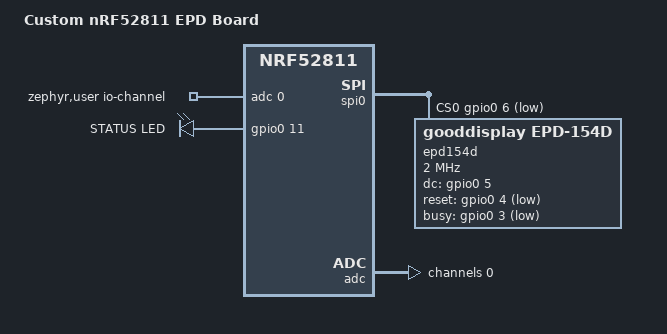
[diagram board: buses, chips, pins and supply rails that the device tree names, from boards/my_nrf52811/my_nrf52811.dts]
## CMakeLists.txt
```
# SPDX-License-Identifier: Apache-2.0

cmake_minimum_required(VERSION 3.20.0)
find_package(Zephyr REQUIRED HINTS $ENV{ZEPHYR_BASE})
project(nrf52811_epd)

target_sources(app PRIVATE
    src/main.c
    src/battery/app_battery.c
    src/battery/battery_state.c
    src/ble/app_ble_epd.c
    src/epd/epd_154d.c
    src/epd/epd_154d_core.c
    src/led/app_led.c
    src/led/led_policy.c
    src/power/app_power.c
    src/power/power_policy.c
    src/protocol/epd_protocol.c
)

target_include_directories(app PRIVATE
    src
)
```

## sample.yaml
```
sample:
  name: nRF52811 E-Paper BLE Peripheral
tests:
  sample.bluetooth.nrf52811_epd:
    harness: bluetooth
    platform_allow:
      - my_nrf52811
    tags: bluetooth
    integration_platforms:
      - my_nrf52811
```

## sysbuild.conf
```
# Disable deprecated partition manager, use DTS-based partitioning instead
SB_CONFIG_PARTITION_MANAGER=n
```

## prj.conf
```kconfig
CONFIG_GPIO=y
CONFIG_SPI=y
CONFIG_ADC=y
CONFIG_BT=y
CONFIG_BT_PERIPHERAL=y
CONFIG_BT_MAX_CONN=1
CONFIG_BT_SMP=n
# GATT device name；实际广播/扫描应答名运行时按 MAC 动态生成为 NRF_EDP_XXXX
CONFIG_BT_DEVICE_NAME="NRF_EDP"
CONFIG_BT_L2CAP_TX_MTU=247
CONFIG_BT_BUF_ACL_RX_SIZE=251
CONFIG_BT_BUF_ACL_TX_SIZE=251
CONFIG_BT_BUF_ACL_RX_COUNT_EXTRA=1
CONFIG_BT_BUF_ACL_TX_COUNT=3
CONFIG_BT_BUF_EVT_RX_COUNT=4
CONFIG_BT_BUF_EVT_DISCARDABLE_COUNT=1
CONFIG_BT_CTLR_DATA_LENGTH_MAX=27
CONFIG_BT_ATT_PREPARE_COUNT=0
# Always-resident: System OFF disabled (this PCB revision has no wake button)
CONFIG_SERIAL=n
CONFIG_UART_CONSOLE=n
CONFIG_I2C=n
CONFIG_SENSOR=n
CONFIG_FLASH=n
CONFIG_NVS=n
CONFIG_FPU=n
CONFIG_CONSOLE=y
CONFIG_USE_SEGGER_RTT=y
CONFIG_RTT_CONSOLE=y
CONFIG_SEGGER_RTT_BUFFER_SIZE_UP=256
# RTT 日志后端使用 DROP 模式：缓冲满时丢弃新日志而非阻塞调用者，
# 避免日志输出阻塞 BLE 回调线程导致 GATT 应答超时、链路被断开
CONFIG_LOG_BACKEND_RTT_MODE_DROP=y
CONFIG_LOG=y
CONFIG_LOG_MODE_IMMEDIATE=y
CONFIG_LOG_DEFAULT_LEVEL=3
CONFIG_CLOCK_CONTROL_NRF_K32SRC_RC=y
CONFIG_CLOCK_CONTROL_NRF_K32SRC_250PPM=y
# nRF52811 has only 24 KiB SRAM. Keep runtime headroom for BLE host state
# and ATT buffers; these values are sufficient for the application threads.
# main 线程仅常驻 idle，让出 256B 给 BT RX 线程：BT RX 承载全部 BLE
# 回调（connected/MTU/params/GATT 服务发现/RX 写/CCC），默认 1024B 栈在
# IMMEDIATE 日志格式化下偏小，栈溢出在无 MPU 时是静默内存破坏。
CONFIG_MAIN_STACK_SIZE=1280
CONFIG_BT_RX_STACK_SIZE=1536
CONFIG_SYSTEM_WORKQUEUE_STACK_SIZE=1536
CONFIG_CRC=y
```

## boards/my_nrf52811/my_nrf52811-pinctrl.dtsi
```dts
/*
 * nRF52811 pinctrl configuration.
 * EPD SPI0: SCK=P0.07, MOSI=P0.08, MISO unused.
 */

&pinctrl {
	spi0_default: spi0_default {
		group1 {
			psels = <NRF_PSEL(SPIM_SCK, 0, 7)>,
				<NRF_PSEL(SPIM_MOSI, 0, 8)>;
		};
	};

	spi0_sleep: spi0_sleep {
		group1 {
			psels = <NRF_PSEL(SPIM_SCK, 0, 7)>,
				<NRF_PSEL(SPIM_MOSI, 0, 8)>;
			low-power-enable;
		};
	};
};
```

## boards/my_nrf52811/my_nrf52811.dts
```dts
/*
 * Custom nRF52811 board with GDEM0154F51H 1.54-inch 4-color EPD.
 *
 * EPD:
 *   BAT ADC: P0.02
 *   MOSI:    P0.08
 *   CLK:     P0.07
 *   CS:      P0.06
 *   DC:      P0.05
 *   RST:     P0.04
 *   BUSY:    P0.03
 * Status LED:
 *   LED:     P0.11, active high（高电平点亮）
 */

/dts-v1/;
#include <nordic/nrf52811_qfaa.dtsi>
#include <zephyr/dt-bindings/adc/adc.h>
#include <zephyr/dt-bindings/adc/nrf-saadc.h>
#include <zephyr/dt-bindings/gpio/gpio.h>
#include <zephyr/dt-bindings/spi/spi.h>
#include "my_nrf52811-pinctrl.dtsi"

/ {
	model = "Custom nRF52811 EPD Board";
	compatible = "custom,my-nrf52811";

	chosen {
		zephyr,sram = &sram0;
		zephyr,flash = &flash0;
	};

	zephyr,user {
		io-channels = <&adc 0>;
	};

	aliases {
		led0 = &sysled;
		epd0 = &epd154d;
		bat-adc = &bat_adc;
	};

	leds {
		compatible = "gpio-leds";

		sysled: sys-led {
			/* 板上 LED 为高电平点亮（GPIO 推高 -> 导通）。
			 * 代码统一使用 gpio_pin_set_dt() 的逻辑电平，
			 * 因此这里必须声明 ACTIVE_HIGH：逻辑 1 => 物理高 => LED 亮。
			 * 若误写成 ACTIVE_LOW，Zephyr 会把电平取反，
			 * 表现为"连接时常亮的位置是灭的、断开反而亮"。 */
			gpios = <&gpio0 11 GPIO_ACTIVE_HIGH>;
			label = "STATUS LED";
		};
	};
};

&reg {
	regulator-initial-mode = <NRF5X_REG_MODE_DCDC>;
};

&gpiote {
	status = "okay";
};

&gpio0 {
	status = "okay";
};

&spi0 {
	compatible = "nordic,nrf-spim";
	status = "okay";
	cs-gpios = <&gpio0 6 GPIO_ACTIVE_LOW>;
	pinctrl-0 = <&spi0_default>;
	pinctrl-1 = <&spi0_sleep>;
	pinctrl-names = "default", "sleep";

	epd154d: epd@0 {
		compatible = "gooddisplay,epd-154d";
		reg = <0>;
		spi-max-frequency = <2000000>;
		dc-gpios = <&gpio0 5 GPIO_ACTIVE_HIGH>;
		/* GDEM0154F51H RST is active-low (low = reset, high = run).
		 * Kept in sync with the pre-regression driver which asserted
		 * reset by driving the pin low and released it by driving high.
		 */
		reset-gpios = <&gpio0 4 GPIO_ACTIVE_LOW>;
		busy-gpios = <&gpio0 3 GPIO_ACTIVE_LOW>;
		status = "okay";
	};
};

&uart0 {
	status = "disabled";
};

&adc {
	status = "okay";
	#address-cells = <1>;
	#size-cells = <0>;

	bat_adc: channel@0 {
		reg = <0>;
		zephyr,gain = "ADC_GAIN_1_6";
		zephyr,reference = "ADC_REF_INTERNAL";
		zephyr,acquisition-time = <ADC_ACQ_TIME_DEFAULT>;
		zephyr,input-positive = <NRF_SAADC_AIN0>;
		zephyr,resolution = <10>;
	};
};

&flash0 {
	partitions {
		compatible = "fixed-partitions";
		#address-cells = <1>;
		#size-cells = <1>;

		image_partition: partition@0 {
			label = "image-0";
			reg = <0x00000000 0x00030000>;
		};
	};
};
```

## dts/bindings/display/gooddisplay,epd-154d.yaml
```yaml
description: GDEM0154F51H 1.54-inch 200x200 four-color e-paper display

compatible: "gooddisplay,epd-154d"

include: spi-device.yaml

properties:
  dc-gpios:
    type: phandle-array
    required: true
    description: Data/command select GPIO.

  reset-gpios:
    type: phandle-array
    required: true
    description: Active-high display reset GPIO.

  busy-gpios:
    type: phandle-array
    required: true
    description: Active-low busy GPIO.
```

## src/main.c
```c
/* SPDX-License-Identifier: Apache-2.0 */

#include <zephyr/kernel.h>
#include <zephyr/logging/log.h>
#include <hal/nrf_power.h>

#include "battery/app_battery.h"
#include "ble/app_ble_epd.h"
#include "epd/epd_154d.h"
#include "led/app_led.h"
#include "power/app_power.h"

LOG_MODULE_REGISTER(main, CONFIG_LOG_DEFAULT_LEVEL);

int main(void)
{
	int err;
	uint32_t resetreas = NRF_POWER->RESETREAS;

	/* 记录本次启动原因（POWER/RESET 等位），用于区分异常复位重启
	 * 与日志阻塞/卡死：若 RTT 再次出现 boot 输出则说明设备复位过。
	 */
	NRF_POWER->RESETREAS = resetreas; /* 写 1 清除 */
	LOG_INF("RESETREAS=0x%08x", resetreas);

	err = app_led_init();
	if (err != 0) {
		LOG_ERR("LED init failed: %d", err);
		return err;
	}

	err = app_battery_init();
	if (err != 0) {
		LOG_ERR("Battery init failed: %d", err);
		return err;
	}

	/* 蓝牙上电即启动：不等屏幕自检刷新完成，设备一上电就能被发现/连接 */
	err = app_ble_epd_init();
	if (err != 0) {
		LOG_ERR("BLE init failed: %d", err);
		return err;
	}

	err = epd_154d_init();
	if (err != 0) {
		LOG_ERR("EPD init failed: %d", err);
		return err;
	}

	/* 上电自检图案：也是一次屏幕刷新，完成后 LED 快闪 3 下再熄灭 */
	err = epd_154d_show_test_pattern();
	if (err != 0) {
		LOG_ERR("EPD test pattern failed: %d", err);
		return err;
	}
	app_led_refresh_flash();

	err = app_power_init();
	if (err != 0) {
		LOG_ERR("Power init failed: %d", err);
		return err;
	}

	/* Stay resident: this PCB revision has no wake button, never enter
	 * System OFF. Idle in the kernel tickless sleep while advertising.
	 */
	while (true) {
		k_sleep(K_FOREVER);
	}
	return 0;
}
```

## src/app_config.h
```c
/* SPDX-License-Identifier: Apache-2.0 */

#ifndef APP_CONFIG_H_
#define APP_CONFIG_H_

/* Always-resident power: this PCB revision has no wake button, so
 * System OFF is intentionally not used and the device keeps running.
 */
#define POWER_MODE_SLOW_ADVERTISING 0

#ifndef APP_POWER_MODE
#define APP_POWER_MODE POWER_MODE_SLOW_ADVERTISING
#endif

#ifndef APP_BLE_DEVICE_NAME
#define APP_BLE_DEVICE_NAME "NRF52811-EPD"
#endif

#ifndef BLE_SLOW_ADV_INTERVAL_MS
#define BLE_SLOW_ADV_INTERVAL_MS 2000
#endif

#ifndef BLE_ACTIVE_ADV_INTERVAL_MS
#define BLE_ACTIVE_ADV_INTERVAL_MS 500
#endif

#ifndef BLE_IDLE_DISCONNECT_MS
#define BLE_IDLE_DISCONNECT_MS 30000
#endif

#ifndef BATTERY_LOW_THRESHOLD_MV
#define BATTERY_LOW_THRESHOLD_MV 2600
#endif

#ifndef BATTERY_LOW_HYSTERESIS_MV
#define BATTERY_LOW_HYSTERESIS_MV 100
#endif

#ifndef BATTERY_SAMPLE_INTERVAL_MS
#define BATTERY_SAMPLE_INTERVAL_MS 60000
#endif

#ifndef BATTERY_LOW_ALERT_INTERVAL_MS
#define BATTERY_LOW_ALERT_INTERVAL_MS 60000
#endif

/* Slow blink while BLE data is being received (non-blocking work item).
 * 500 ms 翻转 = 约 1 Hz，视觉上为"慢闪"（与刷新完成的 120 ms 快闪区分）。
 */
#ifndef LED_RX_BLINK_INTERVAL_MS
#define LED_RX_BLINK_INTERVAL_MS 500
#endif

/* Power-on LED: on once for 1 s then off. */
#ifndef LED_BOOT_ONCE_ON_MS
#define LED_BOOT_ONCE_ON_MS 1000
#endif

/* Fast-blink pattern timing (refresh done: 3 blinks then off). */
#ifndef LED_FLASH_ON_MS
#define LED_FLASH_ON_MS 120
#endif

#ifndef LED_FLASH_OFF_MS
#define LED_FLASH_OFF_MS 120
#endif

#ifndef LED_FLASH_COUNT         
#define LED_FLASH_COUNT 3
#endif

#ifndef LED_LOW_SHORT_ON_MS       
#define LED_LOW_SHORT_ON_MS 100
#endif

#ifndef LED_LOW_SHORT_OFF_MS
#define LED_LOW_SHORT_OFF_MS 100
#endif

#ifndef LED_LOW_LONG_ON_MS
#define LED_LOW_LONG_ON_MS 500
#endif

#ifndef EPD_BUSY_TIMEOUT_MS
#define EPD_BUSY_TIMEOUT_MS 30000
#endif

#endif /* APP_CONFIG_H_ */
```

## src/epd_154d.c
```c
#include "epd_154d.h"

#include <errno.h>

#include <zephyr/devicetree.h>
#include <zephyr/drivers/gpio.h>
#include <zephyr/drivers/spi.h>
#include <zephyr/kernel.h>
#include <zephyr/logging/log.h>
#include <zephyr/sys/util.h>

LOG_MODULE_REGISTER(epd_154d, CONFIG_LOG_DEFAULT_LEVEL);

#define EPD_NODE DT_ALIAS(epd0)

#if !DT_NODE_HAS_STATUS(EPD_NODE, okay)
#error "epd0 alias is missing or disabled"
#endif

static const struct spi_dt_spec epd_spi = SPI_DT_SPEC_GET(
	EPD_NODE, SPI_WORD_SET(8) | SPI_TRANSFER_MSB);
static const struct gpio_dt_spec epd_dc = GPIO_DT_SPEC_GET(EPD_NODE, dc_gpios);
static const struct gpio_dt_spec epd_reset_gpio = GPIO_DT_SPEC_GET(EPD_NODE, reset_gpios);
static const struct gpio_dt_spec epd_busy = GPIO_DT_SPEC_GET(EPD_NODE, busy_gpios);

static uint8_t test_frame[EPD_154D_FRAME_BYTES];

static int epd_write_bytes(const uint8_t *data, size_t length)
{
	while (length > 0) {
		size_t chunk = MIN(length, 256U);
		struct spi_buf buf = {
			.buf = (void *)data,
			.len = chunk,
		};
		struct spi_buf_set set = {
			.buffers = &buf,
			.count = 1,
		};
		int ret = spi_write_dt(&epd_spi, &set);
		if (ret < 0) {
			return ret;
		}

		data += chunk;
		length -= chunk;
	}

	return 0;
}

static int epd_write_command(uint8_t cmd)
{
	int ret = gpio_pin_set_dt(&epd_dc, 0);
	if (ret < 0) {
		return ret;
	}

	return epd_write_bytes(&cmd, 1);
}

static int epd_write_data(const uint8_t *data, size_t length)
{
	int ret = gpio_pin_set_dt(&epd_dc, 1);
	if (ret < 0) {
		return ret;
	}

	return epd_write_bytes(data, length);
}

static int epd_wait_idle(uint32_t timeout_ms)
{
	int64_t deadline = k_uptime_get() + timeout_ms;

	while (gpio_pin_get_raw(epd_busy.port, epd_busy.pin) == 0) {
		if (k_uptime_get() >= deadline) {
			return -ETIMEDOUT;
		}
		k_msleep(20);
	}

	return 0;
}

static int epd_hw_reset(void)
{
	int ret = gpio_pin_set_dt(&epd_reset_gpio, 0);
	if (ret < 0) {
		return ret;
	}

	k_msleep(10);

	ret = gpio_pin_set_dt(&epd_reset_gpio, 1);
	if (ret < 0) {
		return ret;
	}

	k_msleep(10);
	return 0;
}

static int epd_refresh(void)
{
	int ret = epd_write_command(0x12);
	if (ret < 0) {
		return ret;
	}

	static const uint8_t refresh_param = 0x00;
	ret = epd_write_data(&refresh_param, 1);
	if (ret < 0) {
		return ret;
	}

	return epd_wait_idle(5000);
}

static int epd_write_frame(const uint8_t *frame, size_t length)
{
	int ret = epd_write_command(0x10);
	if (ret < 0) {
		return ret;
	}

	ret = epd_write_data(frame, length);
	if (ret < 0) {
		return ret;
	}

	return epd_refresh();
}

int epd_154d_init(void)
{
	int ret;

	if (!device_is_ready(epd_spi.bus)) {
		return -ENODEV;
	}

	if (!gpio_is_ready_dt(&epd_dc) || !gpio_is_ready_dt(&epd_reset_gpio) ||
	    !gpio_is_ready_dt(&epd_busy)) {
		return -ENODEV;
	}

	ret = gpio_pin_configure_dt(&epd_dc, GPIO_OUTPUT_INACTIVE);
	if (ret < 0) {
		return ret;
	}

	ret = gpio_pin_configure_dt(&epd_reset_gpio, GPIO_OUTPUT_ACTIVE);
	if (ret < 0) {
		return ret;
	}

	ret = gpio_pin_configure_dt(&epd_busy, GPIO_INPUT);
	if (ret < 0) {
		return ret;
	}

	ret = epd_hw_reset();
	if (ret < 0) {
		return ret;
	}

	ret = epd_wait_idle(2000);
	if (ret < 0) {
		return ret;
	}

	static const uint8_t init_4d[] = { 0x78 };
	static const uint8_t init_psr[] = { 0x0F, 0x29 };
	static const uint8_t init_btst[] = { 0x0D, 0x12, 0x30, 0x20, 0x19, 0x2A, 0x22 };
	static const uint8_t init_cdi[] = { 0x37 };
	static const uint8_t init_tres[] = { 0x00, 0xC8, 0x00, 0xC8 };
	static const uint8_t init_e9[] = { 0x01 };
	static const uint8_t init_30[] = { 0x08 };

	ret = epd_write_command(0x4D);
	if (ret < 0) {
		return ret;
	}
	ret = epd_write_data(init_4d, sizeof(init_4d));
	if (ret < 0) {
		return ret;
	}

	ret = epd_write_command(0x00);
	if (ret < 0) {
		return ret;
	}
	ret = epd_write_data(init_psr, sizeof(init_psr));
	if (ret < 0) {
		return ret;
	}

	ret = epd_write_command(0x06);
	if (ret < 0) {
		return ret;
	}
	ret = epd_write_data(init_btst, sizeof(init_btst));
	if (ret < 0) {
		return ret;
	}

	ret = epd_write_command(0x50);
	if (ret < 0) {
		return ret;
	}
	ret = epd_write_data(init_cdi, sizeof(init_cdi));
	if (ret < 0) {
		return ret;
	}

	ret = epd_write_command(0x61);
	if (ret < 0) {
		return ret;
	}
	ret = epd_write_data(init_tres, sizeof(init_tres));
	if (ret < 0) {
		return ret;
	}

	ret = epd_write_command(0xE9);
	if (ret < 0) {
		return ret;
	}
	ret = epd_write_data(init_e9, sizeof(init_e9));
	if (ret < 0) {
		return ret;
	}

	ret = epd_write_command(0x30);
	if (ret < 0) {
		return ret;
	}
	ret = epd_write_data(init_30, sizeof(init_30));
	if (ret < 0) {
		return ret;
	}

	ret = epd_write_command(0x04);
	if (ret < 0) {
		return ret;
	}

	return epd_wait_idle(5000);
}

int epd_154d_display(const uint8_t *frame, size_t length)
{
	if (frame == NULL || length != EPD_154D_FRAME_BYTES) {
		return -EINVAL;
	}

	return epd_write_frame(frame, length);
}

static void epd_fill_test_pattern(void)
{
	memset(test_frame, 0x55, sizeof(test_frame));

	for (uint32_t y = 0; y < EPD_154D_HEIGHT; y++) {
		for (uint32_t x = 0; x < EPD_154D_WIDTH; x++) {
			uint8_t color;

			if (y < (EPD_154D_HEIGHT / 2)) {
				color = (x < (EPD_154D_WIDTH / 2)) ? 0x00 : 0x01;
			} else {
				color = (x < (EPD_154D_WIDTH / 2)) ? 0x02 : 0x03;
			}

			size_t index = (y * (EPD_154D_WIDTH / 4)) + (x / 4);
			uint8_t shift = 6U - ((x % 4U) * 2U);
			test_frame[index] &= (uint8_t)~(0x03U << shift);
			test_frame[index] |= (uint8_t)(color << shift);
		}
	}
}

int epd_154d_show_test_pattern(void)
{
	epd_fill_test_pattern();
	return epd_154d_display(test_frame, sizeof(test_frame));
}

int epd_154d_sleep(void)
{
	int ret = epd_write_command(0x02);
	if (ret < 0) {
		return ret;
	}

	static const uint8_t sleep_param = 0x00;
	ret = epd_write_data(&sleep_param, 1);
	if (ret < 0) {
		return ret;
	}

	ret = epd_wait_idle(5000);
	if (ret < 0) {
		return ret;
	}

	ret = epd_write_command(0x07);
	if (ret < 0) {
		return ret;
	}

	static const uint8_t deep_sleep = 0xA5;
	return epd_write_data(&deep_sleep, 1);
}
```

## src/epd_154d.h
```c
#ifndef EPD_154D_H
#define EPD_154D_H

#include <stddef.h>
#include <stdint.h>

#define EPD_154D_WIDTH 200
#define EPD_154D_HEIGHT 200
#define EPD_154D_FRAME_BYTES ((EPD_154D_WIDTH * EPD_154D_HEIGHT) / 4)

int epd_154d_init(void);
int epd_154d_show_test_pattern(void);
int epd_154d_display(const uint8_t *frame, size_t length);
int epd_154d_sleep(void);

#endif
```
